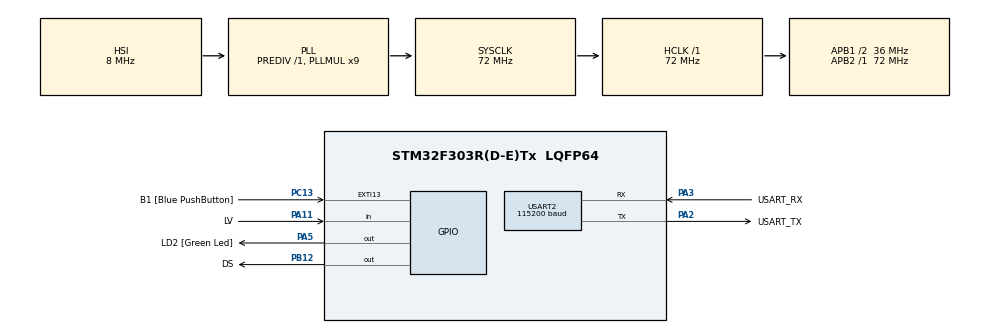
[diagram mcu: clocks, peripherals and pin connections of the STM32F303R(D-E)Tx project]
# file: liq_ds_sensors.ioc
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Mcu.Family=STM32F3
Mcu.Name=STM32F303R(D-E)Tx
Mcu.Package=LQFP64
NVIC.PriorityGroup=NVIC_PRIORITYGROUP_0
PA11.GPIO_Label=LV
PA11.Signal=GPIO_Input
PA13.GPIO_Label=TMS
PA13.Mode=Serial_Wire
PA13.Signal=SYS_JTMS-SWDIO
PA14.GPIO_Label=TCK
PA14.Mode=Serial_Wire
PA14.Signal=SYS_JTCK-SWCLK
PA2.GPIO_Label=USART_TX
PA2.GPIO_Mode=GPIO_MODE_AF_PP
PA2.GPIO_PuPd=GPIO_NOPULL
PA2.GPIO_Speed=GPIO_SPEED_FREQ_LOW
PA2.Mode=Asynchronous
PA2.Signal=USART2_TX
PA3.GPIO_Label=USART_RX
PA3.GPIO_Mode=GPIO_MODE_AF_PP
PA3.GPIO_PuPd=GPIO_NOPULL
PA3.GPIO_Speed=GPIO_SPEED_FREQ_LOW
PA3.Mode=Asynchronous
PA3.Signal=USART2_RX
PA5.GPIO_Label=LD2 [Green Led]
PA5.GPIO_Mode=GPIO_MODE_OUTPUT_PP
PA5.GPIO_PuPd=GPIO_NOPULL
PA5.GPIO_Speed=GPIO_SPEED_FREQ_LOW
PA5.Signal=GPIO_Output
PB12.GPIO_Label=DS
PB12.GPIO_ModeDefaultOutputPP=GPIO_MODE_OUTPUT_OD
PB12.GPIO_PuPd=GPIO_NOPULL
PB12.PinState=GPIO_PIN_SET
PB12.Signal=GPIO_Output
PB3.GPIO_Label=SWO
PB3.Signal=SYS_JTDO-TRACESWO
PC13.GPIO_Label=B1 [Blue PushButton]
PC13.GPIO_ModeDefaultEXTI=GPIO_MODE_IT_FALLING
PC13.Signal=GPXTI13
PC14-OSC32_IN.Mode=LSE-External-Oscillator
PC14-OSC32_IN.Signal=RCC_OSC32_IN
PC15-OSC32_OUT.Mode=LSE-External-Oscillator
PC15-OSC32_OUT.Signal=RCC_OSC32_OUT
PF0-OSC_IN.Mode=HSE-External-Clock-Source
PF0-OSC_IN.Signal=RCC_OSC_IN
PF1-OSC_OUT.Signal=RCC_OSC_OUT
ProjectManager.HeapSize=0x200
ProjectManager.StackSize=0x400
ProjectManager.TargetToolchain=STM32CubeIDE
RCC.AHBFreq_Value=72000000
RCC.APB1CLKDivider=RCC_HCLK_DIV2
RCC.APB1Freq_Value=36000000
RCC.APB1TimFreq_Value=72000000
RCC.APB2Freq_Value=72000000
RCC.APB2TimFreq_Value=72000000
RCC.CortexFreq_Value=72000000
RCC.HCLKFreq_Value=72000000
RCC.HSE_VALUE=8000000
RCC.HSI_VALUE=8000000
RCC.PLLM=8
RCC.PLLMUL=RCC_PLL_MUL9
RCC.PLLN=336
RCC.PLLP=RCC_PLLP_DIV4
RCC.PLLQ=7
RCC.RCC_PLLsource_Clock_Source_FROM_HSE=RCC_HSE_PREDIV_DIV2
RCC.SYSCLKFreq_VALUE=72000000
RCC.SYSCLKSourceVirtual=RCC_SYSCLKSOURCE_PLLCLK
RCC.USBFreq_Value=72000000
TIM6.Prescaler=71
USART2.BaudRate=115200
USART2.VirtualMode-Asynchronous=VM_ASYNC
VP_TIM6_VS_ClockSourceINT.Mode=Enable_Timer
board=NUCLEO-F303RE

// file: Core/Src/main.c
/* USER CODE BEGIN Header */
/**
  ******************************************************************************
  * @file           : main.c
  * @brief          : Main program body
  ******************************************************************************
  * @attention
  *
  * Copyright (c) 2023 STMicroelectronics.
  * All rights reserved.
  *
  * This software is licensed under terms that can be found in the LICENSE file
  * in the root directory of this software component.
  * If no LICENSE file comes with this software, it is provided AS-IS.
  *
  ******************************************************************************
  */
/* USER CODE END Header */
#include "main.h"
#include "tim.h"
#include "usart.h"
#include "gpio.h"

/* USER CODE BEGIN Includes */
#include <stdio.h>
#include "ds.h"
/* USER CODE END Includes */

void SystemClock_Config(void);

/* USER CODE BEGIN 0 */
int __io_putchar(int ch)
{
	if (ch == '\n'){
		__io_putchar('\r');
	}
	HAL_UART_Transmit(&huart2, (uint8_t*)&ch, 1, HAL_MAX_DELAY);
	return 1;
}

/* USER CODE END 0 */

int main(void)
{

  /* MCU Configuration--------------------------------------------------------*/

  /* Reset of all peripherals, Initializes the Flash interface and the Systick. */
  HAL_Init();

  /* Configure the system clock */
  SystemClock_Config();

  /* Initialize all configured peripherals */
  MX_GPIO_Init();
  MX_USART2_UART_Init();
  MX_TIM6_Init();
  /* USER CODE BEGIN 2 */
  HAL_TIM_Base_Start(&htim6);

  wire_reset();
  wire_write(0xcc);
  wire_write(0x44);

  HAL_Delay(750);

  wire_reset();
  wire_write(0xcc);
  wire_write(0xbe);

  int i;
  uint8_t scratchpad[9];
  for (i = 0; i < 9; i++)
    scratchpad[i] = wire_read();

  uint8_t crc = wire_crc(scratchpad, 8);
  /* USER CODE END 2 */

  /* Infinite loop */
  /* USER CODE BEGIN WHILE */
  while (1)
  {
	  ds_start_measure(NULL);

	  	  HAL_Delay(750);

	  	  float temp = ds_get_temp(NULL);
	  	  if(temp >= 80.0f)
	  		  printf("Error\n");
	  	  else if (temp > 40.0f && temp < 80.0f)
	  		  printf("Too high temperature = %.1f*C\n", temp);
	  	  else if(temp<-10.0f)
	  	  	  printf("Too low temperature = %.1f*C\n", temp);
	  	  else
	  		  printf("Temperature = %.1f*C\n", temp);
	  	  if(HAL_GPIO_ReadPin(LV_GPIO_Port, LV_Pin))
	  		  printf("Liquid level = 1  ");
	  	  else
	  		  printf("Liquid level = 0  ");

    /* USER CODE END WHILE */

  }
}

void SystemClock_Config(void)
{
  RCC_OscInitTypeDef RCC_OscInitStruct = {0};
  RCC_ClkInitTypeDef RCC_ClkInitStruct = {0};
  RCC_PeriphCLKInitTypeDef PeriphClkInit = {0};

  /** Initializes the RCC Oscillators according to the specified parameters
  * in the RCC_OscInitTypeDef structure.
  */
  RCC_OscInitStruct.OscillatorType = RCC_OSCILLATORTYPE_HSI;
  RCC_OscInitStruct.HSIState = RCC_HSI_ON;
  RCC_OscInitStruct.HSICalibrationValue = RCC_HSICALIBRATION_DEFAULT;
  RCC_OscInitStruct.PLL.PLLState = RCC_PLL_ON;
  RCC_OscInitStruct.PLL.PLLSource = RCC_PLLSOURCE_HSI;
  RCC_OscInitStruct.PLL.PLLMUL = RCC_PLL_MUL9;
  RCC_OscInitStruct.PLL.PREDIV = RCC_PREDIV_DIV1;
  if (HAL_RCC_OscConfig(&RCC_OscInitStruct) != HAL_OK)
  {
    Error_Handler();
  }
  /** Initializes the CPU, AHB and APB buses clocks
  */
  RCC_ClkInitStruct.ClockType = RCC_CLOCKTYPE_HCLK|RCC_CLOCKTYPE_SYSCLK
                              |RCC_CLOCKTYPE_PCLK1|RCC_CLOCKTYPE_PCLK2;
  RCC_ClkInitStruct.SYSCLKSource = RCC_SYSCLKSOURCE_PLLCLK;
  RCC_ClkInitStruct.AHBCLKDivider = RCC_SYSCLK_DIV1;
  RCC_ClkInitStruct.APB1CLKDivider = RCC_HCLK_DIV2;
  RCC_ClkInitStruct.APB2CLKDivider = RCC_HCLK_DIV1;

  if (HAL_RCC_ClockConfig(&RCC_ClkInitStruct, FLASH_LATENCY_2) != HAL_OK)
  {
    Error_Handler();
  }
  PeriphClkInit.PeriphClockSelection = RCC_PERIPHCLK_USART2;
  PeriphClkInit.Usart2ClockSelection = RCC_USART2CLKSOURCE_PCLK1;
  if (HAL_RCCEx_PeriphCLKConfig(&PeriphClkInit) != HAL_OK)
  {
    Error_Handler();
  }
}

void Error_Handler(void)
{
  __disable_irq();
  while (1)
  {
  }
}
